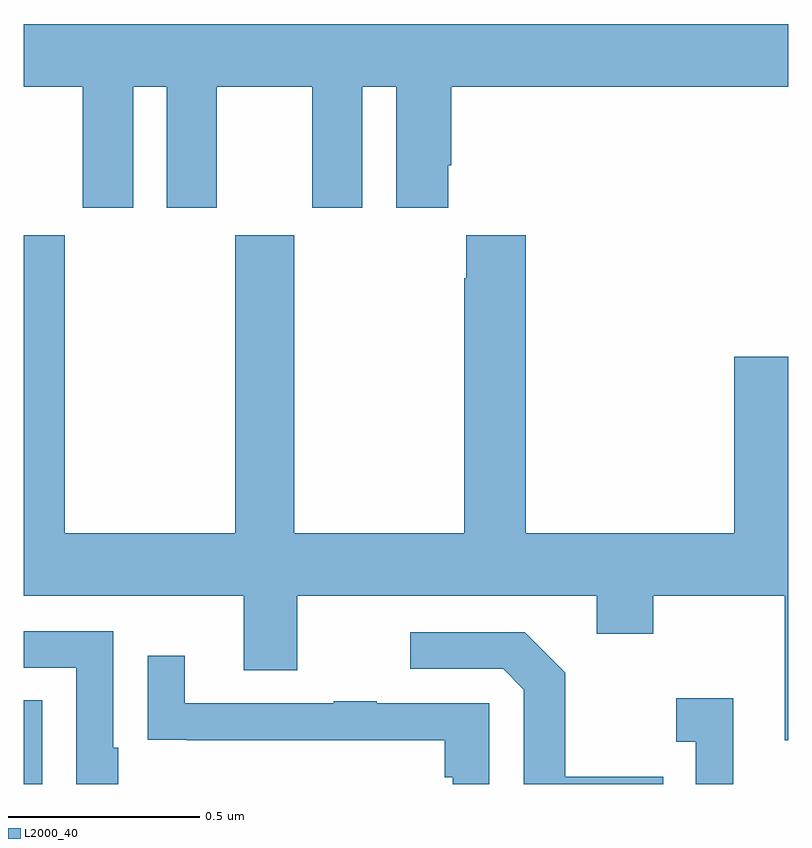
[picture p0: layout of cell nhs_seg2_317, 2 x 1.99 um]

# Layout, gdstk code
import gdstk
lib = gdstk.Library(unit=1e-6, precision=1e-09)
def R(c, l, rs):  # rectangles x0, y0, x1, y1
    for r in rs: c.add(gdstk.rectangle(r[:2], r[2:], *l))
def P(c, l, *ps):  # polygons
    for p in ps: c.add(gdstk.Polygon(p, *l))
L2000_40 = (2000, 40)

nhs_seg2_317 = lib.new_cell('nhs_seg2_317')
R(nhs_seg2_317, L2000_40, [(114,657.8,114.048,658.019)])
P(nhs_seg2_317, L2000_40, [(114.286,659.624),(114.374,659.624),(114.374,659.307),(114.505,659.307),(114.505,659.624),(114.755,659.624),(114.755,659.307),(114.886,659.307),(114.886,659.624),(114.974,659.624),(114.974,659.307),(115.111,659.307),(115.111,659.419),(115.118,659.419),(115.118,659.624),(116,659.624),(116,659.788),(114,659.788),(114,659.624),(114.155,659.624),(114.155,659.307),(114.286,659.307)],
  [(116,658.918),(115.859,658.918),(115.859,658.456),(115.313,658.456),(115.313,659.236),(115.157,659.236),(115.157,659.123),(115.153,659.123),(115.153,658.456),(114.708,658.456),(114.708,659.236),(114.553,659.236),(114.553,658.456),(114.108,658.456),(114.108,659.236),(114,659.236),(114,658.292),(114.575,658.292),(114.575,658.098),(114.715,658.098),(114.715,658.292),(115.499,658.292),(115.499,658.193),(115.647,658.193),(115.647,658.292),(115.991,658.292),(115.991,657.915),(116,657.915)],
  [(114.247,657.895),(114.234,657.895),(114.234,658.2),(114,658.2),(114,658.104),(114.138,658.104),(114.138,657.8),(114.247,657.8)],
  [(115.673,657.819),(115.417,657.819),(115.417,658.091),(115.311,658.197),(115.011,658.197),(115.011,658.101),(115.254,658.101),(115.308,658.047),(115.308,657.8),(115.673,657.8)],
  [(115.218,658.011),(114.923,658.011),(114.923,658.016),(114.811,658.016),(114.811,658.011),(114.421,658.011),(114.421,658.135),(114.325,658.135),(114.325,657.916),(114.427,657.916),(114.427,657.915),(115.102,657.915),(115.102,657.818),(115.122,657.818),(115.122,657.8),(115.218,657.8)],
  [(115.856,658.024),(115.707,658.024),(115.707,657.911),(115.758,657.911),(115.758,657.8),(115.856,657.8)])

lib.write_gds('nhs_seg2_317.gds')
